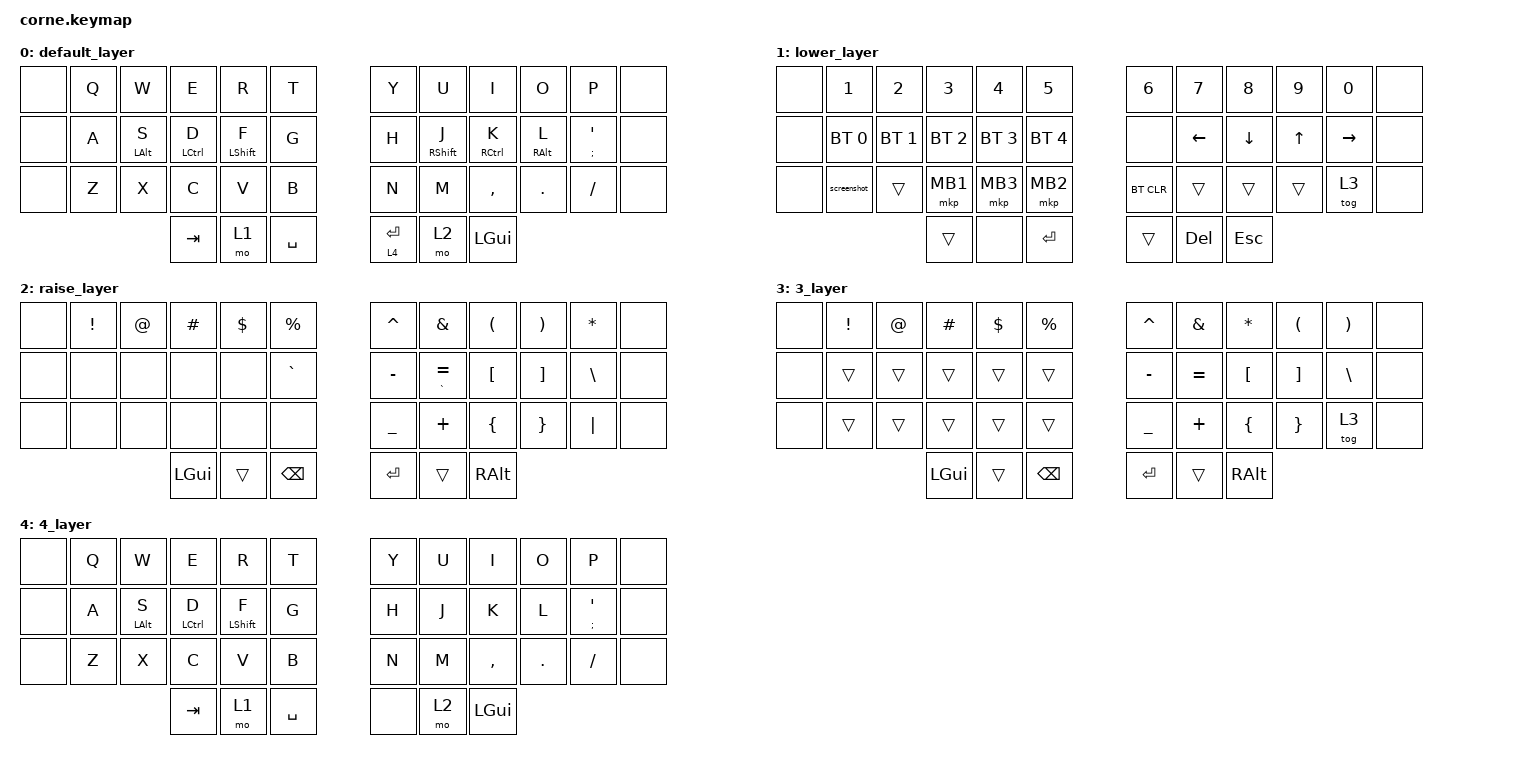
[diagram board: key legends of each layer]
/*
 * Copyright (c) 2020 The ZMK Contributors
 *
 * SPDX-License-Identifier: MIT
 */

#include <behaviors.dtsi>
#include <dt-bindings/zmk/keys.h>
#include <dt-bindings/zmk/bt.h>
#include <dt-bindings/zmk/mouse.h>

/ {
    macros {
        screenshot: screenshot {
            compatible = "zmk,behavior-macro";
            #binding-cells = <0>;
            bindings
                = <&macro_press &kp LSHFT &kp LGUI>
                , <&macro_tap &kp S>
                , <&macro_release &kp LSHFT &kp LGUI>
                ;
        };
    };
};

&mt {
    flavor = "tap-preferred";
};

/ {
        keymap {
                compatible = "zmk,keymap";

                default_layer {
// -----------------------------------------------------------------------------------------
// | NONE |  Q  |  W  |  E  |  R  |  T  |   |  Y  |  U   |  I  |  O  |  P  | NONE |
// | NONE |  A  |  S/LALT  |  D/LCTRL |  F/LSHFT  |  G  |   |  H  |  J/RSHFT  |  K/RCTRL  |  L/RALT  | ;/' | NONE |
// | NONE |  Z  |  X  |  C  |  V  |  B  |   |  N  |  M   |  ,  |  .  |  /  | NONE |
//                    | TAB | LWR | SPC |   | ENT/LAYER4 | RSE  | LGUI |
                        bindings = <
   &none &kp Q &kp W &kp E &kp R &kp T   &kp Y &kp U  &kp I  &kp O   &kp P  &none
   &none &kp A &mt LALT S &mt LCTRL D &mt LSHFT F &kp G   &kp H  &mt RSHFT J  &mt RCTRL K  &mt RALT L  &mt SEMI SQT &none
   &none &kp Z &kp X &kp C &kp V &kp B   &kp N &kp M  &kp COMMA &kp DOT &kp FSLH &none
                  &kp TAB &mo 1 &kp SPACE   &lt 4 RET &mo 2 &kp LGUI
                        >;
                };
                lower_layer {
// -----------------------------------------------------------------------------------------
// | NONE |  1  |  2  |  3  |  4  |  5  |   |  6  |  7  |  8  |  9  |  0  | NONE |
// | NONE | BT1 | BT2 | BT3 | BT4 | BT5 |   |     | LFT | DWN |  UP | RGT | NONE |
// | NONE | SCREENSHOT |     | MOUSE1 | MOUSE3 | MOUSE2 |   | BT_CLR |     |     |     |  TOGGLE 3  | NONE |
//                    |     | NONE | ENT |   |     | DEL | ESC |
                        bindings = <
   &none    &kp N1       &kp N2       &kp N3       &kp N4       &kp N5         &kp N6   &kp N7   &kp N8 &kp N9    &kp N0 &none
   &none &bt BT_SEL 0 &bt BT_SEL 1 &bt BT_SEL 2 &bt BT_SEL 3 &bt BT_SEL 4   &none &kp LEFT &kp DOWN &kp UP &kp RIGHT &none
   &none  &screenshot   &trans     &mkp MB1       &mkp MB3       &mkp MB2         &bt BT_CLR  &trans   &trans &trans   &tog 3 &none
                                    &trans     &none       &kp RET     &trans  &kp DEL   &kp ESC
                        >;
                };
                raise_layer {
// -----------------------------------------------------------------------------------------
// | NONE |  !  |  @  |  #  |  $  |  %  |   |  ^  |  &  |  (  |  ) |  *  | NONE |
// | NONE |     |     |     |     |  `  |   |  -  |  =  |  [  |  ]  |  \  | NONE |
// | NONE |     |     |     |     |     |   |  _  |  +  |  {  |  }  | "|" | NONE |
//                    | GUI |     | BKSP|   | ENT |     | ALT |
                        bindings = <
   &none  &kp EXCL &kp AT &kp HASH &kp DLLR &kp PRCNT   &kp CARET &kp AMPS &kp LPAR &kp RPAR &kp ASTRK &none
   &none &none &none &none &none   &kp GRAVE &kp MINUS &mt GRAVE EQUAL &kp LBKT  &kp RBKT &kp BSLH &none
   &none &none &none &none &none &none    &kp UNDER &kp PLUS  &kp LBRC  &kp RBRC &kp PIPE &none
                             &kp LGUI &trans &kp BSPC    &kp RET   &trans    &kp RALT
                        >;
                };
                3_layer {
// -----------------------------------------------------------------------------------------
// | NONE |  !  |  @  |  #  |  $  |  %  |   |  ^  |  &  |  *  |  (  |  )  | NONE |
// | NONE |     |     |     |     |     |   |  -  |  =  |  [  |  ]  |  \  | NONE |
// | NONE |     |     |     |     |     |   |  _  |  +  |  {  |  }  | TOGGLE 3 | NONE |
//                    | GUI |     | BKSP|   | ENT |     | ALT |
                        bindings = <
   &none  &kp EXCL &kp AT &kp HASH &kp DLLR &kp PRCNT   &kp CARET &kp AMPS  &kp ASTRK &kp LPAR &kp RPAR &none
   &none &trans &trans &trans   &trans   &trans      &kp MINUS &kp EQUAL &kp LBKT  &kp RBKT &kp BSLH &none
   &none &trans &trans &trans   &trans   &trans      &kp UNDER &kp PLUS  &kp LBRC  &kp RBRC &tog 3 &none
                             &kp LGUI &trans &kp BSPC    &kp RET   &trans    &kp RALT
                        >;
                };
                4_layer {
// -----------------------------------------------------------------------------------------
// | NONE |  Q  |  W  |  E  |  R  |  T  |   |  Y  |  U   |  I  |  O  |  P  | NONE |
// | NONE |  A  |  S/LALT  |  D/LCTRL |  F/LSHFT  |  G  |   |  H  |  J  |  K  |  L  | ;/' | NONE |
// | NONE |  Z  |  X  |  C  |  V  |  B  |   |  N  |  M   |  ,  |  .  |  /  | NONE |
//                    | TAB | LWR | SPC |   |     | RSE  | LGUI |
                        bindings = <
   &none &kp Q &kp W &kp E &kp R &kp T   &kp Y &kp U  &kp I  &kp O   &kp P  &none
   &none &kp A &mt LALT S &mt LCTRL D &mt LSHFT F &kp G   &kp H  &kp J  &kp K  &kp L  &mt SEMI SQT &none
   &none &kp Z &kp X &kp C &kp V &kp B   &kp N &kp M  &kp COMMA &kp DOT &kp FSLH &none
                  &kp TAB &mo 1 &kp SPACE   &none &mo 2 &kp LGUI
                        >;
                };
        };
};
